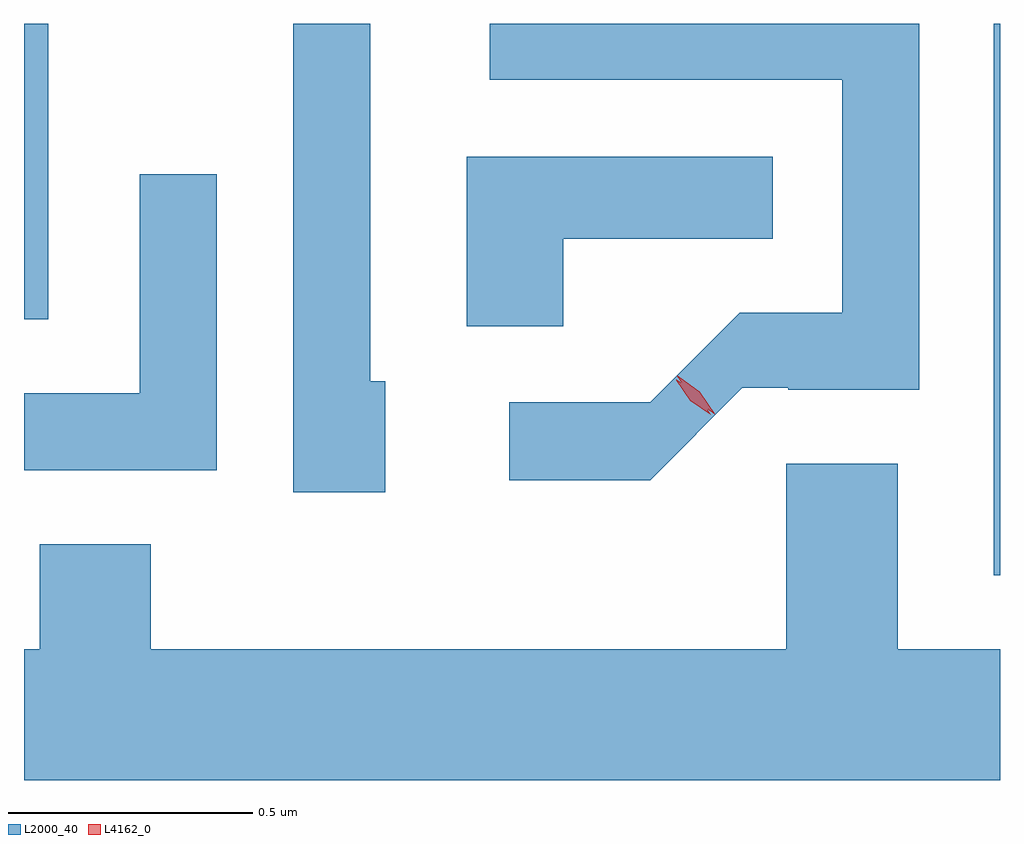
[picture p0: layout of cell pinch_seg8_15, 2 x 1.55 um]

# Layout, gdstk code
import gdstk
lib = gdstk.Library(unit=1e-6, precision=1e-09)
def R(c, l, rs):  # rectangles x0, y0, x1, y1
    for r in rs: c.add(gdstk.rectangle(r[:2], r[2:], *l))
def P(c, l, *ps):  # polygons
    for p in ps: c.add(gdstk.Polygon(p, *l))
L2000_40 = (2000, 40)
L4162_0 = (4162, 0)

pinch_seg8_15 = lib.new_cell('pinch_seg8_15')
R(pinch_seg8_15, L2000_40, [(1077.366,1890.116,1077.379,1891.246), (1075.379,1890.641,1075.429,1891.246)])
P(pinch_seg8_15, L2000_40, [(1076.119,1890.514),(1076.089,1890.514),(1076.089,1891.246),(1075.931,1891.246),(1075.931,1890.286),(1076.119,1890.286)],
  [(1076.851,1890.5),(1076.945,1890.5),(1076.945,1890.496),(1077.214,1890.496),(1077.214,1891.246),(1076.333,1891.246),(1076.333,1891.131),(1077.056,1891.131),(1077.056,1890.654),(1076.846,1890.654),(1076.662,1890.47),(1076.373,1890.47),(1076.373,1890.311),(1076.662,1890.311)],
  [(1076.484,1890.806),(1076.913,1890.806),(1076.913,1890.974),(1076.286,1890.974),(1076.286,1890.626),(1076.484,1890.626)],
  [(1075.774,1890.938),(1075.616,1890.938),(1075.616,1890.489),(1075.379,1890.489),(1075.379,1890.331),(1075.774,1890.331)],
  [(1077.379,1889.964),(1077.169,1889.964),(1077.169,1890.344),(1076.941,1890.344),(1076.941,1889.964),(1075.639,1889.964),(1075.639,1890.179),(1075.411,1890.179),(1075.411,1889.964),(1075.379,1889.964),(1075.379,1889.696),(1077.379,1889.696)])
P(pinch_seg8_15, L4162_0, [(1076.794,1890.446),(1076.749,1890.479),(1076.718,1890.524),(1076.718,1890.525),(1076.719,1890.525),(1076.764,1890.492),(1076.794,1890.447),(1076.794,1890.446)],
  [(1076.786,1890.445),(1076.744,1890.474),(1076.716,1890.516),(1076.716,1890.517),(1076.717,1890.517),(1076.759,1890.488),(1076.786,1890.445),(1076.786,1890.445)])

lib.write_gds('pinch_seg8_15.gds')
